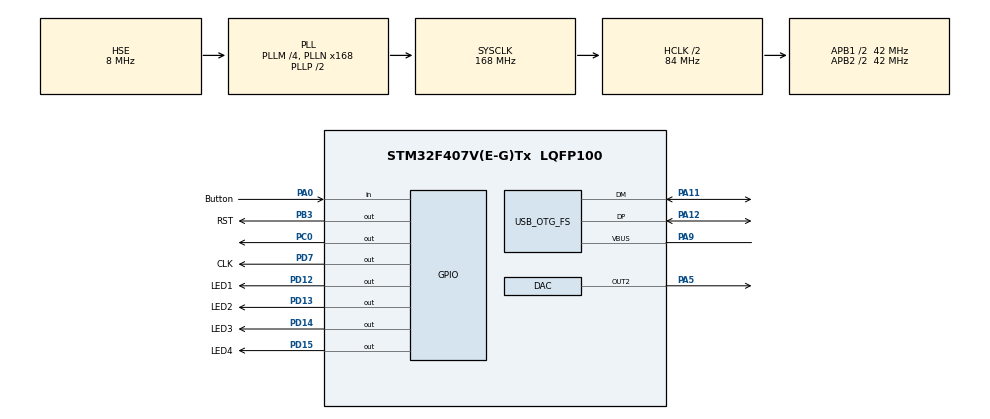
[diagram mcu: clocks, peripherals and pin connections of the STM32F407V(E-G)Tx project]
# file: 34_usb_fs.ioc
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DAC.DAC_Trigger2=DAC_TRIGGER_T6_TRGO
Dma.DAC2.0.Direction=DMA_MEMORY_TO_PERIPH
Dma.DAC2.0.FIFOMode=DMA_FIFOMODE_DISABLE
Dma.DAC2.0.Instance=DMA1_Stream6
Dma.DAC2.0.MemDataAlignment=DMA_MDATAALIGN_HALFWORD
Dma.DAC2.0.MemInc=DMA_MINC_ENABLE
Dma.DAC2.0.Mode=DMA_CIRCULAR
Dma.DAC2.0.PeriphDataAlignment=DMA_PDATAALIGN_HALFWORD
Dma.DAC2.0.PeriphInc=DMA_PINC_DISABLE
Dma.DAC2.0.Priority=DMA_PRIORITY_LOW
Dma.Request0=DAC2
FATFS._MAX_SS=4096
Mcu.Family=STM32F4
Mcu.Name=STM32F407V(E-G)Tx
Mcu.Package=LQFP100
NVIC.DMA1_Stream6_IRQn=true\:0\:0\:false\:false\:true\:false\:true
NVIC.OTG_FS_IRQn=true\:0\:0\:false\:false\:true\:false\:true
NVIC.PriorityGroup=NVIC_PRIORITYGROUP_0
NVIC.TIM6_DAC_IRQn=true\:0\:0\:false\:false\:true\:true\:true
PA0-WKUP.GPIO_Label=Button
PA0-WKUP.Signal=GPIO_Input
PA11.Mode=Host_Only
PA11.Signal=USB_OTG_FS_DM
PA12.Mode=Host_Only
PA12.Signal=USB_OTG_FS_DP
PA13.Mode=Serial_Wire
PA13.Signal=SYS_JTMS-SWDIO
PA14.Mode=Serial_Wire
PA14.Signal=SYS_JTCK-SWCLK
PA5.Signal=COMP_DAC2_group
PA9.Mode=Activate_VBUS
PA9.Signal=USB_OTG_FS_VBUS
PB3.GPIO_Label=RST
PB3.Signal=GPIO_Output
PC0.Signal=GPIO_Output
PD12.GPIO_Label=LED1
PD12.Signal=GPIO_Output
PD13.GPIO_Label=LED2
PD13.Signal=GPIO_Output
PD14.GPIO_Label=LED3
PD14.Signal=GPIO_Output
PD15.GPIO_Label=LED4
PD15.Signal=GPIO_Output
PD7.GPIO_Label=CLK
PD7.Signal=GPIO_Output
PH0-OSC_IN.Mode=HSE-External-Oscillator
PH0-OSC_IN.Signal=RCC_OSC_IN
PH1-OSC_OUT.Mode=HSE-External-Oscillator
PH1-OSC_OUT.Signal=RCC_OSC_OUT
ProjectManager.HeapSize=0x200
ProjectManager.StackSize=0x400
ProjectManager.TargetToolchain=STM32CubeIDE
RCC.48MHZClocksFreq_Value=48000000
RCC.AHBCLKDivider=RCC_SYSCLK_DIV2
RCC.AHBFreq_Value=84000000
RCC.APB1CLKDivider=RCC_HCLK_DIV2
RCC.APB1Freq_Value=42000000
RCC.APB1TimFreq_Value=84000000
RCC.APB2CLKDivider=RCC_HCLK_DIV2
RCC.APB2Freq_Value=42000000
RCC.APB2TimFreq_Value=84000000
RCC.CortexFreq_Value=84000000
RCC.HCLKFreq_Value=84000000
RCC.HSE_VALUE=8000000
RCC.HSI_VALUE=16000000
RCC.LSE_VALUE=32768
RCC.PLLM=4
RCC.PLLN=168
RCC.PLLQ=7
RCC.SYSCLKFreq_VALUE=168000000
RCC.SYSCLKSource=RCC_SYSCLKSOURCE_PLLCLK
RCC.VCOOutputFreq_Value=336000000
SH.COMP_DAC2_group.0=DAC_OUT2,DAC_OUT2
TIM6.AutoReloadPreload=TIM_AUTORELOAD_PRELOAD_ENABLE
TIM6.Period=20
TIM6.Prescaler=20
TIM6.TIM_MasterOutputTrigger=TIM_TRGO_UPDATE
USB_HOST.BSP.number=1
USB_HOST.USBH_HandleTypeDef-MSC_FS=hUsbHostFS
USB_HOST.VirtualModeFS=Msc
USB_HOST0.BSP.STBoard=false
USB_HOST0.BSP.api=Unknown
USB_HOST0.BSP.i2caddr=0
USB_HOST0.BSP.instance=PC0
USB_HOST0.BSP.ip=GPIO
USB_HOST0.BSP.mode=Output
USB_HOST0.BSP.name=Drive_VBUS_FS
USB_HOST0.BSP.solution=PC0
USB_OTG_FS.VirtualMode=Host_Only
USB_OTG_FS.phy_itface=HCD_PHY_EMBEDDED
VP_FATFS_VS_USB.Mode=USB
VP_TIM6_VS_ClockSourceINT.Mode=Enable_Timer
VP_USB_HOST_VS_USB_HOST_MSC_FS.Mode=MSC_FS
board=STM32F407G-DISC1

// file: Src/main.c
/* USER CODE BEGIN Header */
/**
  ******************************************************************************
  * @file           : main.c
  * @brief          : Main program body
  ******************************************************************************
  * @attention
  *
  * <h2><center>&copy; Copyright (c) 2020 STMicroelectronics.
  * All rights reserved.</center></h2>
  *
  * This software component is licensed by ST under Ultimate Liberty license
  * SLA0044, the "License"; You may not use this file except in compliance with
  * the License. You may obtain a copy of the License at:
  *                             www.st.com/SLA0044
  *
  ******************************************************************************
  */
/* USER CODE END Header */

#include "main.h"
#include "fatfs.h"
#include "usb_host.h"

/* USER CODE BEGIN PD */
#define DATA_BUF_SIZE_SAMPLES 40000
#define DATA_BUF_SIZE_BYTES DATA_BUF_SIZE_SAMPLES*2
/* USER CODE END PD */

DAC_HandleTypeDef hdac;
DMA_HandleTypeDef hdma_dac2;

TIM_HandleTypeDef htim6;

/* USER CODE BEGIN PV */
int process = 0;
int dac_buffer_pointer = 0;
int half_to_fill = 0;

extern ApplicationTypeDef Appli_state;

//FATFS varibale
FATFS myUsbFatFS;
//USB Logical path
extern char USBHPath[4];  /* USBH logical drive path */

//File IO Variables
FIL myFile;
FRESULT res;
int size_of_file;
UINT byteswritten, bytesread;
volatile int16_t rwtext[DATA_BUF_SIZE_SAMPLES];  //Read/Write buf

/* USER CODE END PV */

void SystemClock_Config(void);
static void MX_GPIO_Init(void);
static void MX_DMA_Init(void);
static void MX_DAC_Init(void);
static void MX_TIM6_Init(void);
void MX_USB_HOST_Process(void);

/* USER CODE BEGIN PFP */

int UsbTest_Read(void);

/* USER CODE END PFP */

/* USER CODE BEGIN 0 */
void HAL_DACEx_ConvHalfCpltCallbackCh2(DAC_HandleTypeDef* hdac)
{
	if (half_to_fill) //red_led on
		HAL_GPIO_WritePin(LED3_GPIO_Port, LED3_Pin, GPIO_PIN_SET);
	HAL_GPIO_TogglePin(CLK_GPIO_Port, CLK_Pin);
	half_to_fill = 1;
}

void HAL_DACEx_ConvCpltCallbackCh2(DAC_HandleTypeDef* hdac)
{
	if (half_to_fill) //red_led on
		HAL_GPIO_WritePin(LED3_GPIO_Port, LED3_Pin, GPIO_PIN_SET);
	HAL_GPIO_TogglePin(CLK_GPIO_Port, CLK_Pin);
	half_to_fill = 2;
}

/* USER CODE END 0 */

int main(void)
{

  /* MCU Configuration--------------------------------------------------------*/

  /* Reset of all peripherals, Initializes the Flash interface and the Systick. */
  HAL_Init();

  /* Configure the system clock */
  SystemClock_Config();

  /* Initialize all configured peripherals */
  MX_GPIO_Init();
  MX_DMA_Init();
  MX_FATFS_Init();
  MX_USB_HOST_Init();
  MX_DAC_Init();
  MX_TIM6_Init();

  /* Infinite loop */
  while (1)
  {
    MX_USB_HOST_Process();

    /* USER CODE BEGIN 3 */

	switch(Appli_state)
	{
		case APPLICATION_IDLE:
			break;

		case APPLICATION_START:
			if(f_mount(&myUsbFatFS, (TCHAR const*)USBHPath, 0) == FR_OK)
			{
				//Turn Green LED ON
				HAL_GPIO_WritePin(LED1_GPIO_Port, LED1_Pin, GPIO_PIN_SET);
			}

			break;

		case APPLICATION_READY:

			if(HAL_GPIO_ReadPin(Button_GPIO_Port, Button_Pin) == GPIO_PIN_SET && !process)
			{
				//blue led on
				HAL_GPIO_WritePin(LED4_GPIO_Port, LED4_Pin, GPIO_PIN_SET);

				//Open file for reading
				if(f_open(&myFile, "vrt.bin", FA_READ) != FR_OK)
				{
					return 0;
				}
				size_of_file =  f_size(&myFile);

				if (size_of_file - f_tell(&myFile) > DATA_BUF_SIZE_BYTES)
					f_read(&myFile, (uint8_t*)&rwtext[0], DATA_BUF_SIZE_BYTES, &bytesread);

				HAL_TIM_Base_Start(&htim6);
				HAL_DAC_Start(&hdac,DAC_CHANNEL_2);
				HAL_DAC_Start_DMA(&hdac, DAC_CHANNEL_2, (uint32_t*)rwtext, DATA_BUF_SIZE_SAMPLES, DAC_ALIGN_12B_R);
			}

			if (size_of_file - f_tell(&myFile) > DATA_BUF_SIZE_BYTES/2)
			{
				if (half_to_fill == 1)
				{
					f_read(&myFile, (uint8_t*)&rwtext[0], DATA_BUF_SIZE_BYTES/2, &bytesread);
					half_to_fill = 0;
				}
				else if (half_to_fill == 2)
				{
					f_read(&myFile, (uint8_t*)&rwtext[DATA_BUF_SIZE_SAMPLES/2], DATA_BUF_SIZE_BYTES/2, &bytesread);
					half_to_fill = 0;
				}
			}
			else
			{
				f_close(&myFile);
				half_to_fill = 0;
				HAL_TIM_Base_Stop(&htim6);
				HAL_DAC_Stop(&hdac, DAC_CHANNEL_2);
				HAL_DAC_Stop_DMA(&hdac, DAC_CHANNEL_2);
				//blue led off
				HAL_GPIO_WritePin(LED4_GPIO_Port, LED4_Pin, GPIO_PIN_RESET);
				process = 0;
			}

			break;

		case APPLICATION_DISCONNECT:
			//Turn Green LED OFF
			HAL_GPIO_WritePin(LED1_GPIO_Port, LED1_Pin, GPIO_PIN_RESET);
			break;
	}

  }
  /* USER CODE END 3 */
}

void SystemClock_Config(void)
{
  RCC_OscInitTypeDef RCC_OscInitStruct = {0};
  RCC_ClkInitTypeDef RCC_ClkInitStruct = {0};

  /** Configure the main internal regulator output voltage
  */
  __HAL_RCC_PWR_CLK_ENABLE();
  __HAL_PWR_VOLTAGESCALING_CONFIG(PWR_REGULATOR_VOLTAGE_SCALE1);
  /** Initializes the CPU, AHB and APB busses clocks
  */
  RCC_OscInitStruct.OscillatorType = RCC_OSCILLATORTYPE_HSE;
  RCC_OscInitStruct.HSEState = RCC_HSE_ON;
  RCC_OscInitStruct.PLL.PLLState = RCC_PLL_ON;
  RCC_OscInitStruct.PLL.PLLSource = RCC_PLLSOURCE_HSE;
  RCC_OscInitStruct.PLL.PLLM = 4;
  RCC_OscInitStruct.PLL.PLLN = 168;
  RCC_OscInitStruct.PLL.PLLP = RCC_PLLP_DIV2;
  RCC_OscInitStruct.PLL.PLLQ = 7;
  if (HAL_RCC_OscConfig(&RCC_OscInitStruct) != HAL_OK)
  {
    Error_Handler();
  }
  /** Initializes the CPU, AHB and APB busses clocks
  */
  RCC_ClkInitStruct.ClockType = RCC_CLOCKTYPE_HCLK|RCC_CLOCKTYPE_SYSCLK
                              |RCC_CLOCKTYPE_PCLK1|RCC_CLOCKTYPE_PCLK2;
  RCC_ClkInitStruct.SYSCLKSource = RCC_SYSCLKSOURCE_PLLCLK;
  RCC_ClkInitStruct.AHBCLKDivider = RCC_SYSCLK_DIV2;
  RCC_ClkInitStruct.APB1CLKDivider = RCC_HCLK_DIV2;
  RCC_ClkInitStruct.APB2CLKDivider = RCC_HCLK_DIV2;

  if (HAL_RCC_ClockConfig(&RCC_ClkInitStruct, FLASH_LATENCY_2) != HAL_OK)
  {
    Error_Handler();
  }
}

static void MX_DAC_Init(void)
{

  DAC_ChannelConfTypeDef sConfig = {0};

  /** DAC Initialization
  */
  hdac.Instance = DAC;
  if (HAL_DAC_Init(&hdac) != HAL_OK)
  {
    Error_Handler();
  }
  /** DAC channel OUT2 config
  */
  sConfig.DAC_Trigger = DAC_TRIGGER_T6_TRGO;
  sConfig.DAC_OutputBuffer = DAC_OUTPUTBUFFER_ENABLE;
  if (HAL_DAC_ConfigChannel(&hdac, &sConfig, DAC_CHANNEL_2) != HAL_OK)
  {
    Error_Handler();
  }

}

static void MX_TIM6_Init(void)
{

  TIM_MasterConfigTypeDef sMasterConfig = {0};

  htim6.Instance = TIM6;
  htim6.Init.Prescaler = 20;
  htim6.Init.CounterMode = TIM_COUNTERMODE_UP;
  htim6.Init.Period = 20;
  htim6.Init.AutoReloadPreload = TIM_AUTORELOAD_PRELOAD_ENABLE;
  if (HAL_TIM_Base_Init(&htim6) != HAL_OK)
  {
    Error_Handler();
  }
  sMasterConfig.MasterOutputTrigger = TIM_TRGO_UPDATE;
  sMasterConfig.MasterSlaveMode = TIM_MASTERSLAVEMODE_DISABLE;
  if (HAL_TIMEx_MasterConfigSynchronization(&htim6, &sMasterConfig) != HAL_OK)
  {
    Error_Handler();
  }

}

static void MX_DMA_Init(void)
{

  /* DMA controller clock enable */
  __HAL_RCC_DMA1_CLK_ENABLE();

  /* DMA interrupt init */
  /* DMA1_Stream6_IRQn interrupt configuration */
  HAL_NVIC_SetPriority(DMA1_Stream6_IRQn, 0, 0);
  HAL_NVIC_EnableIRQ(DMA1_Stream6_IRQn);

}

static void MX_GPIO_Init(void)
{
  GPIO_InitTypeDef GPIO_InitStruct = {0};

  /* GPIO Ports Clock Enable */
  __HAL_RCC_GPIOH_CLK_ENABLE();
  __HAL_RCC_GPIOC_CLK_ENABLE();
  __HAL_RCC_GPIOA_CLK_ENABLE();
  __HAL_RCC_GPIOD_CLK_ENABLE();
  __HAL_RCC_GPIOB_CLK_ENABLE();

  /*Configure GPIO pin Output Level */
  HAL_GPIO_WritePin(GPIOC, GPIO_PIN_0, GPIO_PIN_RESET);

  /*Configure GPIO pin Output Level */
  HAL_GPIO_WritePin(GPIOD, LED1_Pin|LED2_Pin|LED3_Pin|LED4_Pin
                          |CLK_Pin, GPIO_PIN_RESET);

  /*Configure GPIO pin Output Level */
  HAL_GPIO_WritePin(RST_GPIO_Port, RST_Pin, GPIO_PIN_RESET);

  /*Configure GPIO pin : PC0 */
  GPIO_InitStruct.Pin = GPIO_PIN_0;
  GPIO_InitStruct.Mode = GPIO_MODE_OUTPUT_PP;
  GPIO_InitStruct.Pull = GPIO_NOPULL;
  GPIO_InitStruct.Speed = GPIO_SPEED_FREQ_LOW;
  HAL_GPIO_Init(GPIOC, &GPIO_InitStruct);

  /*Configure GPIO pin : Button_Pin */
  GPIO_InitStruct.Pin = Button_Pin;
  GPIO_InitStruct.Mode = GPIO_MODE_INPUT;
  GPIO_InitStruct.Pull = GPIO_NOPULL;
  HAL_GPIO_Init(Button_GPIO_Port, &GPIO_InitStruct);

  /*Configure GPIO pins : LED1_Pin LED2_Pin LED3_Pin LED4_Pin
                           CLK_Pin */
  GPIO_InitStruct.Pin = LED1_Pin|LED2_Pin|LED3_Pin|LED4_Pin
                          |CLK_Pin;
  GPIO_InitStruct.Mode = GPIO_MODE_OUTPUT_PP;
  GPIO_InitStruct.Pull = GPIO_NOPULL;
  GPIO_InitStruct.Speed = GPIO_SPEED_FREQ_LOW;
  HAL_GPIO_Init(GPIOD, &GPIO_InitStruct);

  /*Configure GPIO pin : RST_Pin */
  GPIO_InitStruct.Pin = RST_Pin;
  GPIO_InitStruct.Mode = GPIO_MODE_OUTPUT_PP;
  GPIO_InitStruct.Pull = GPIO_NOPULL;
  GPIO_InitStruct.Speed = GPIO_SPEED_FREQ_LOW;
  HAL_GPIO_Init(RST_GPIO_Port, &GPIO_InitStruct);

}

void Error_Handler(void)
{
}

/************************ (C) COPYRIGHT STMicroelectronics *****END OF FILE****/
